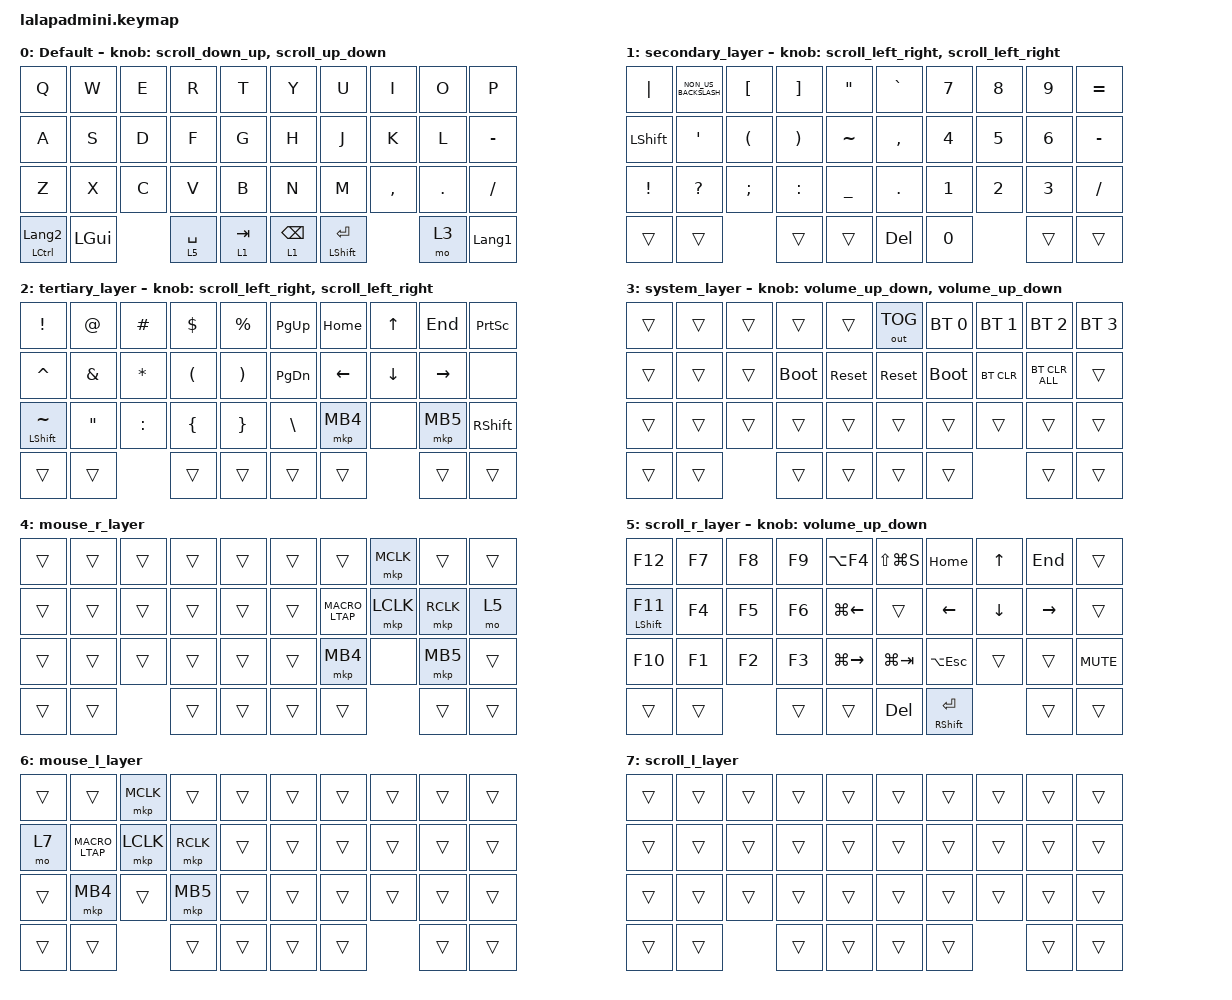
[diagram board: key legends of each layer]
#include <input/processors.dtsi>
#include <behaviors.dtsi>
#include <dt-bindings/zmk/bt.h>
#include <dt-bindings/zmk/keys.h>
#include <dt-bindings/zmk/outputs.h>
#include <dt-bindings/zmk/pointing.h>

#define DEFAULT_LAYER   0
#define SECONDARY_LAYER 1
#define TERTIARY_LAYER  2
#define SYSTEM_LAYER    3
#define MOUSE_R_LAYER   4
#define SCROLL_R_LAYER  5
#define MOUSE_L_LAYER   6
#define SCROLL_L_LAYER  7

// Mouse Scroll Value

#define ZMK_POINTING_DEFAULT_SCRL_VAL 100

// cirque trackpad input&layer control

&glidepoint_listener_R {
    input-processors =
        <&zip_xy_transform (INPUT_TRANSFORM_XY_SWAP | INPUT_TRANSFORM_X_INVERT | INPUT_TRANSFORM_Y_INVERT)>,
        <&zip_xy_scaler 3 2>,
        <&zip_temp_layer MOUSE_R_LAYER 300>;

    lowspeedmode {
        layers = <SECONDARY_LAYER>;
        input-processors =
            <&zip_xy_transform (INPUT_TRANSFORM_XY_SWAP | INPUT_TRANSFORM_X_INVERT | INPUT_TRANSFORM_Y_INVERT)>,
            <&zip_xy_scaler 3 5>,
            <&zip_temp_layer MOUSE_R_LAYER 300>;
    };

    scroller {
        layers = <SCROLL_R_LAYER>;
        input-processors =
            <&zip_xy_to_scroll_mapper>,
            <&zip_scroll_transform (INPUT_TRANSFORM_XY_SWAP | INPUT_TRANSFORM_Y_INVERT)>,
            <&zip_scroll_scaler 1 32>;
    };
};

&glidepoint_listener_L {
    input-processors =
        <&zip_xy_transform (INPUT_TRANSFORM_XY_SWAP | INPUT_TRANSFORM_X_INVERT | INPUT_TRANSFORM_Y_INVERT)>,
        <&zip_xy_scaler 3 2>,
        <&zip_temp_layer MOUSE_L_LAYER 300>;

    lowspeedmode {
        layers = <TERTIARY_LAYER>;
        input-processors =
            <&zip_xy_transform (INPUT_TRANSFORM_XY_SWAP | INPUT_TRANSFORM_X_INVERT | INPUT_TRANSFORM_Y_INVERT)>,
            <&zip_xy_scaler 3 4>,
            <&zip_temp_layer MOUSE_L_LAYER 300>;
    };

    scroller {
        layers = <SCROLL_L_LAYER>;
        input-processors =
            <&zip_xy_to_scroll_mapper>,
            <&zip_scroll_transform (INPUT_TRANSFORM_XY_SWAP | INPUT_TRANSFORM_Y_INVERT)>,
            <&zip_scroll_scaler 1 32>;
    };
};

&mt { quick-tap-ms = <200>; };

&lt { quick-tap-ms = <200>; };

/ {
    behaviors {
        // Encoder to Mouse Scroll

        scroll_up_down: behavior_sensor_rotate_mouse_wheel_up_down {
            compatible = "zmk,behavior-sensor-rotate";
            #sensor-binding-cells = <0>;
            bindings = <&msc SCRL_UP>, <&msc SCRL_DOWN>;

            tap-ms = <20>;
        };

        scroll_down_up: behavior_sensor_rotate_mouse_wheel_down_up {
            compatible = "zmk,behavior-sensor-rotate";
            #sensor-binding-cells = <0>;
            bindings = <&msc SCRL_DOWN>, <&msc SCRL_UP>;

            tap-ms = <20>;
        };

        scroll_left_right: behavior_sensor_rotate_mouse_wheel_left_right {
            compatible = "zmk,behavior-sensor-rotate";
            #sensor-binding-cells = <0>;
            bindings = <&msc SCRL_LEFT>, <&msc SCRL_RIGHT>;

            tap-ms = <20>;
        };

        scroll_right_left: behavior_sensor_rotate_mouse_wheel_right_left {
            compatible = "zmk,behavior-sensor-rotate";
            #sensor-binding-cells = <0>;
            bindings = <&msc SCRL_RIGHT>, <&msc SCRL_LEFT>;

            tap-ms = <20>;
        };

        volume_up_down: behavior_sensor_rotate_volume_up_down {
            compatible = "zmk,behavior-sensor-rotate";
            #sensor-binding-cells = <0>;
            bindings = <&kp C_VOLUME_UP>, <&kp C_VOLUME_DOWN>;

            tap-ms = <20>;
        };

        mt2: mod_tap2 {
            compatible = "zmk,behavior-hold-tap";
            #binding-cells = <2>;
            flavor = "tap-preferred";
            tapping-term-ms = <200>;
            quick-tap-ms = <200>;
            require-prior-idle-ms = <125>;
            bindings = <&kp>, <&kp>;
        };

        tap_dance_layer_1and2: tap_dance_layer_1and2 {
            compatible = "zmk,behavior-tap-dance";
            label = "td_mo12";
            #binding-cells = <0>;
            bindings = <&mo 1>, <&mo 2>;
        };
    };

    combos {
        compatible = "zmk,combos";

        CONBO_ESC {
            bindings = <&kp ESCAPE>;
            key-positions = <0 1>;
        };

        COMBO_WIN {
            bindings = <&kp LSHFT>;
            key-positions = <30 31>;
        };

        m1 {
            bindings = <&mkp MB1>;
            key-positions = <7 8>;
        };

        m2 {
            bindings = <&mkp MB2>;
            key-positions = <8 9>;
        };

        m3 {
            bindings = <&mkp MB3>;
            key-positions = <7 8 9>;
        };

        alt {
            bindings = <&kp LEFT_ALT>;
            key-positions = <21 20>;
        };

        m1_home {
            bindings = <&mkp MB1>;
            key-positions = <17 16>;
        };

        m2_home {
            bindings = <&mkp MB2>;
            key-positions = <18 17>;
        };

        m3_home {
            bindings = <&mkp MB3>;
            key-positions = <17 18 16>;
        };
    };

    macros {
        MACRO_LTAP: MACRO_LTAP {
            compatible = "zmk,behavior-macro";
            #binding-cells = <0>;
            bindings = <&mkp LCLK>;
            label = "MACRO_LTAP";
        };
    };

    keymap {
        compatible = "zmk,keymap";

        DEFAULT_LAYER {
            display-name = "Default";
            sensor-bindings = <&scroll_down_up>, <&scroll_up_down>;

            bindings = <
&kp Q                 &kp W         &kp E  &kp R        &kp T      &kp Y            &kp U            &kp I      &kp O       &kp P
&kp A                 &kp S         &kp D  &kp F        &kp G      &kp H            &kp J            &kp K      &kp L       &kp MINUS
&kp Z                 &kp X         &kp C  &kp V        &kp B      &kp N            &kp M            &kp COMMA  &kp PERIOD  &kp SLASH
&mt LCTRL LANGUAGE_2  &kp LEFT_GUI         &lt 5 SPACE  &lt 1 TAB  &lt 1 BACKSPACE  &mt LSHFT ENTER             &mo 3       &kp LANGUAGE_1
            >;
        };

        SECONDARY_LAYER {
            display-name = "secondary_layer";
            sensor-bindings = <&scroll_left_right>, <&scroll_left_right>;

            bindings = <
&kp PIPE         &kp NON_US_BACKSLASH  &kp LEFT_BRACKET      &kp RIGHT_BRACKET      &kp DOUBLE_QUOTES  &kp GRAVE   &kp N7        &kp N8        &kp N9        &kp EQUAL
&kp LSHFT        &kp SQT               &kp LEFT_PARENTHESIS  &kp RIGHT_PARENTHESIS  &kp TILDE          &kp COMMA   &kp NUMBER_4  &kp N5        &kp NUMBER_6  &kp MINUS
&kp EXCLAMATION  &kp QUESTION          &kp SEMICOLON         &kp COLON              &kp UNDERSCORE     &kp PERIOD  &kp NUMBER_1  &kp NUMBER_2  &kp NUMBER_3  &kp SLASH
&trans           &trans                                      &trans                 &trans             &kp DELETE  &kp N0                      &trans        &trans
            >;
        };

        TERTIARY_LAYER {
            display-name = "tertiary_layer";
            bindings = <
&kp EXCLAMATION       &kp AT_SIGN        &kp HASH      &kp DOLLAR            &kp PERCENT            &kp PAGE_UP    &kp HOME  &kp UP_ARROW  &kp END    &kp PRINTSCREEN
&kp CARET             &kp AMPERSAND      &kp ASTERISK  &kp LEFT_PARENTHESIS  &kp RIGHT_PARENTHESIS  &kp PAGE_DOWN  &kp LEFT  &kp DOWN      &kp RIGHT  &none
&mt LEFT_SHIFT TILDE  &kp DOUBLE_QUOTES  &kp COLON     &kp LEFT_BRACE        &kp RIGHT_BRACE        &kp BACKSLASH  &mkp MB4  &none         &mkp MB5   &kp RIGHT_SHIFT
&trans                &trans                           &trans                &trans                 &trans         &trans                  &trans     &trans
            >;

            sensor-bindings = <&scroll_left_right>, <&scroll_left_right>;
        };

        SYSTEM_LAYER {
            display-name = "system_layer";
            sensor-bindings = <&volume_up_down>, <&volume_up_down>;

            bindings = <
&trans  &trans  &trans  &trans       &trans      &out OUT_TOG  &bt BT_SEL 0  &bt BT_SEL 1  &bt BT_SEL 2    &bt BT_SEL 3
&trans  &trans  &trans  &bootloader  &sys_reset  &sys_reset    &bootloader   &bt BT_CLR    &bt BT_CLR_ALL  &trans
&trans  &trans  &trans  &trans       &trans      &trans        &trans        &trans        &trans          &trans
&trans  &trans          &trans       &trans      &trans        &trans                      &trans          &trans
            >;
        };

        MOUSE_R_LAYER {
            display-name = "mouse_r_layer";
            bindings = <
&trans  &trans  &trans  &trans  &trans  &trans  &trans       &mkp MCLK  &trans     &trans
&trans  &trans  &trans  &trans  &trans  &trans  &MACRO_LTAP  &mkp LCLK  &mkp RCLK  &mo 5
&trans  &trans  &trans  &trans  &trans  &trans  &mkp MB4     &none      &mkp MB5   &trans
&trans  &trans          &trans  &trans  &trans  &trans                  &trans     &trans
            >;
        };

        SCROLL_R_LAYER {
            display-name = "scroll_r_layer";
            bindings = <
&kp F12        &kp F7  &kp F8  &kp F9  &kp LA(F4)          &kp LS(LG(S))  &kp HOME               &kp UP_ARROW  &kp END    &trans
&mt LSHFT F11  &kp F4  &kp F5  &kp F6  &kp LG(LEFT_ARROW)  &trans         &kp LEFT_ARROW         &kp DOWN      &kp RIGHT  &trans
&kp F10        &kp F1  &kp F2  &kp F3  &kp LG(RIGHT)       &kp LG(TAB)    &kp LA(ESCAPE)         &trans        &trans     &kp C_MUTE
&trans         &trans          &trans  &trans              &kp DELETE     &mt RIGHT_SHIFT ENTER                &trans     &trans
            >;

            sensor-bindings = <&volume_up_down>;
        };

        MOUSE_L_LAYER {
            display-name = "mouse_l_layer";
            bindings = <
&trans  &trans       &mkp MCLK  &trans     &trans  &trans  &trans  &trans  &trans  &trans
&mo 7   &MACRO_LTAP  &mkp LCLK  &mkp RCLK  &trans  &trans  &trans  &trans  &trans  &trans
&trans  &mkp MB4     &trans     &mkp MB5   &trans  &trans  &trans  &trans  &trans  &trans
&trans  &trans                  &trans     &trans  &trans  &trans          &trans  &trans
            >;
        };

        SCROLL_L_LAYER {
            display-name = "scroll_l_layer";
            bindings = <
&trans  &trans  &trans  &trans  &trans  &trans  &trans  &trans  &trans  &trans
&trans  &trans  &trans  &trans  &trans  &trans  &trans  &trans  &trans  &trans
&trans  &trans  &trans  &trans  &trans  &trans  &trans  &trans  &trans  &trans
&trans  &trans          &trans  &trans  &trans  &trans          &trans  &trans
            >;
        };
    };

    conditional_layers { compatible = "zmk,conditional-layers"; };
};
